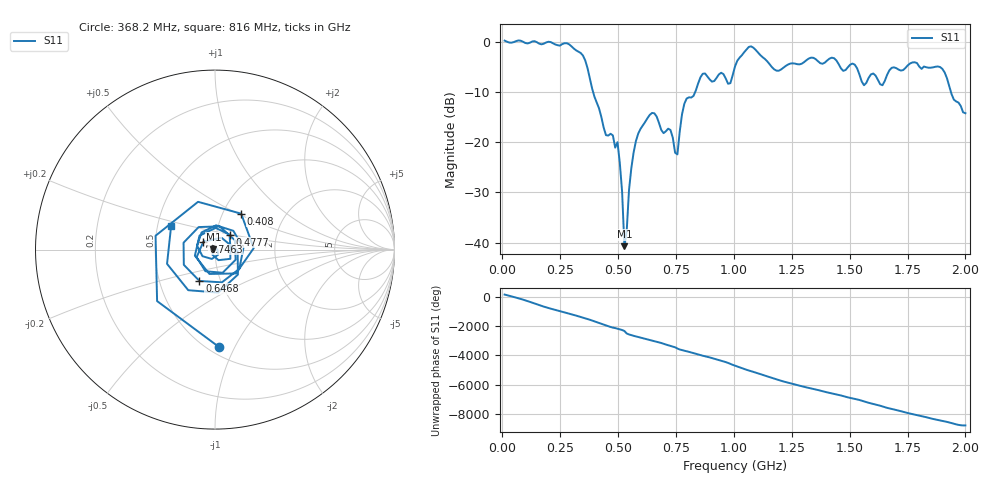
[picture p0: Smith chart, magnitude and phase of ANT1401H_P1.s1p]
!Created with skrf (http://scikit-rf.org).
# Hz S RI R 50.0
!freq ReS11 ImS11
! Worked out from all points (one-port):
!   201 points, 10 MHz to 2 GHz, reference 50 ohm
!   lowest |S11| = -40.7 dB at 527.4 MHz (marker M1), VSWR 1.02, Z = 49.1 + j0.0689 ohm
!   |S11| at or under -10 dB: 392 MHz to 833.4 MHz (441.4 MHz wide, 72 % of centre); 1.937 GHz to end of sweep
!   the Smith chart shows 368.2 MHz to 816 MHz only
!   S11 on the Smith chart (normalised r, x): 368.2 MHz: 0.56, -0.87; 408 MHz: 1.22, +0.52; 477.6 MHz: 1.16, +0.20; 646.8 MHz: 0.79, -0.29; 746.3 MHz: 0.88, +0.08; 816 MHz: 0.59, +0.17
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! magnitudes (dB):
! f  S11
! 10 MHz  0.2
! 258.8 MHz  -0.5
! 368.2 MHz  -5.3
! 408 MHz  -12.1
! 447.8 MHz  -18.6
! 477.6 MHz  -18.7
! 507.5 MHz  -24.2
! 517.5 MHz  -29.9
! 527.4 MHz  -40.7
! 557.2 MHz  -25.2
! 577.1 MHz  -19.8
! 646.8 MHz  -14.2
! 726.4 MHz  -17.6
! 746.3 MHz  -22.1
! 756.2 MHz  -22.5
! 786.1 MHz  -12.4
! 816 MHz  -11.1
! 865.7 MHz  -6.4
! 975.1 MHz  -8.4
! 1.005 GHz  -5.0
! 1.075 GHz  -1.0
! 1.184 GHz  -5.8
! 1.254 GHz  -4.3
! 1.502 GHz  -4.6
! 1.562 GHz  -8.7
! 1.751 GHz  -4.7
! 1.901 GHz  -5.4
! 2 GHz  -14.3
